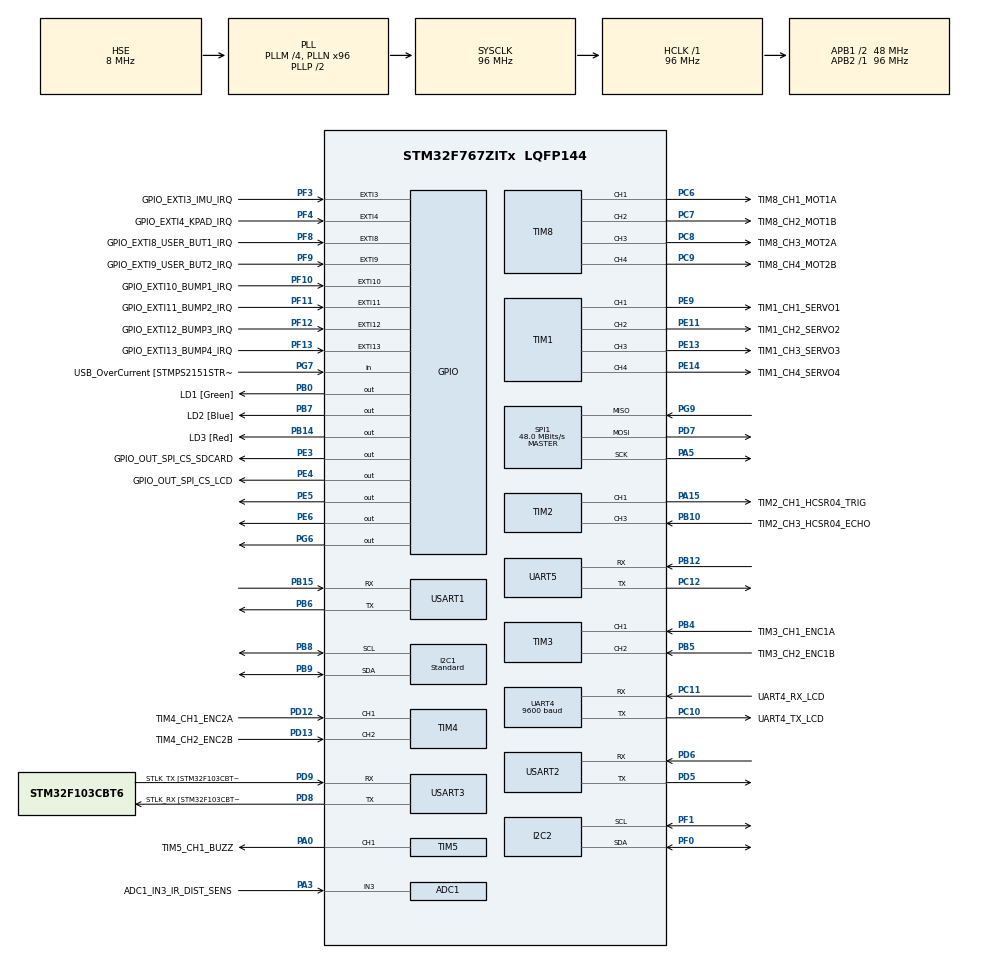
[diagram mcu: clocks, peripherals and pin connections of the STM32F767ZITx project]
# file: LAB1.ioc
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ADC1.Channel-1\#ChannelRegularConversion=ADC_CHANNEL_3
ADC1.NbrOfConversionFlag=1
ADC1.Rank-1\#ChannelRegularConversion=1
ADC1.SamplingTime-1\#ChannelRegularConversion=ADC_SAMPLETIME_3CYCLES
ADC1.master=1
I2C1.I2C_Speed_Mode=I2C_Standard
I2C1.Timing=0x20303E5D
I2C2.Timing=0x20303E5D
Mcu.Family=STM32F7
Mcu.Name=STM32F767ZITx
Mcu.Package=LQFP144
Mcu.UserConstants=TIM8_PSC_VALUE,959;TIM8_ARR_VALUE,400;TIM1_PSC_VALUE,959;TIM1_ARR_VALUE,200
NVIC.EXTI4_IRQn=true\:1\:0\:true\:false\:true\:true\:true\:true
NVIC.PriorityGroup=NVIC_PRIORITYGROUP_4
NVIC.TIM1_UP_TIM10_IRQn=true\:0\:0\:false\:false\:true\:true\:true\:true
NVIC.TIM7_IRQn=true\:0\:0\:false\:false\:true\:true\:true\:true
PA0/WKUP.GPIO_Label=TIM5_CH1_BUZZ
PA0/WKUP.Signal=S_TIM5_CH1
PA1.GPIO_Label=RMII_REF_CLK [LAN8742A-CZ-TR_REFCLK0]
PA1.Signal=ETH_REF_CLK
PA10.GPIO_Label=USB_ID
PA10.Signal=USB_OTG_FS_ID
PA11.GPIO_Label=USB_DM
PA11.Signal=USB_OTG_FS_DM
PA12.GPIO_Label=USB_DP
PA12.Signal=USB_OTG_FS_DP
PA13.GPIO_Label=TMS
PA13.Mode=Serial_Wire
PA13.Signal=SYS_JTMS-SWDIO
PA14.GPIO_Label=TCK
PA14.Mode=Serial_Wire
PA14.Signal=SYS_JTCK-SWCLK
PA15.GPIO_Label=TIM2_CH1_HCSR04_TRIG
PA15.Signal=S_TIM2_CH1_ETR
PA2.GPIO_Label=RMII_MDIO [LAN8742A-CZ-TR_MDIO]
PA2.Signal=ETH_MDIO
PA3.GPIO_Label=ADC1_IN3_IR_DIST_SENS
PA3.Signal=ADCx_IN3
PA5.Mode=Full_Duplex_Master
PA5.Signal=SPI1_SCK
PA7.GPIO_Label=RMII_CRS_DV [LAN8742A-CZ-TR_CRS_DV]
PA7.Signal=ETH_CRS_DV
PA8.GPIO_Label=USB_SOF [TP1]
PA8.Signal=USB_OTG_FS_SOF
PA9.GPIO_Label=USB_VBUS
PA9.Signal=USB_OTG_FS_VBUS
PB0.GPIO_Label=LD1 [Green]
PB0.Signal=GPIO_Output
PB10.GPIO_Label=TIM2_CH3_HCSR04_ECHO
PB10.Signal=S_TIM2_CH3
PB12.Mode=Asynchronous
PB12.Signal=UART5_RX
PB13.GPIO_Label=RMII_TXD1 [LAN8742A-CZ-TR_TXD1]
PB13.Signal=ETH_TXD1
PB14.GPIO_Label=LD3 [Red]
PB14.Signal=GPIO_Output
PB15.Mode=Asynchronous
PB15.Signal=USART1_RX
PB3.GPIO_Label=SWO
PB3.Signal=SYS_JTDO-SWO
PB4.GPIO_Label=TIM3_CH1_ENC1A
PB4.Signal=S_TIM3_CH1
PB5.GPIO_Label=TIM3_CH2_ENC1B
PB5.Signal=S_TIM3_CH2
PB6.Mode=Asynchronous
PB6.Signal=USART1_TX
PB7.GPIO_Label=LD2 [Blue]
PB7.Signal=GPIO_Output
PB8.GPIO_Pu=GPIO_PULLUP
PB8.Mode=I2C
PB8.Signal=I2C1_SCL
PB9.GPIO_Pu=GPIO_PULLUP
PB9.Mode=I2C
PB9.Signal=I2C1_SDA
PC1.GPIO_Label=RMII_MDC [LAN8742A-CZ-TR_MDC]
PC1.Signal=ETH_MDC
PC10.GPIO_Label=UART4_TX_LCD
PC10.Mode=Asynchronous
PC10.Signal=UART4_TX
PC11.GPIO_Label=UART4_RX_LCD
PC11.Mode=Asynchronous
PC11.Signal=UART4_RX
PC12.Mode=Asynchronous
PC12.Signal=UART5_TX
PC14/OSC32_IN.Mode=LSE-External-Oscillator
PC14/OSC32_IN.Signal=RCC_OSC32_IN
PC15/OSC32_OUT.Mode=LSE-External-Oscillator
PC15/OSC32_OUT.Signal=RCC_OSC32_OUT
PC4.GPIO_Label=RMII_RXD0 [LAN8742A-CZ-TR_RXD0]
PC4.Signal=ETH_RXD0
PC5.GPIO_Label=RMII_RXD1 [LAN8742A-CZ-TR_RXD1]
PC5.Signal=ETH_RXD1
PC6.GPIO_Label=TIM8_CH1_MOT1A
PC6.Signal=S_TIM8_CH1
PC7.GPIO_Label=TIM8_CH2_MOT1B
PC7.Signal=S_TIM8_CH2
PC8.GPIO_Label=TIM8_CH3_MOT2A
PC8.Signal=S_TIM8_CH3
PC9.GPIO_Label=TIM8_CH4_MOT2B
PC9.Signal=S_TIM8_CH4
PD12.GPIO_Label=TIM4_CH1_ENC2A
PD12.Signal=S_TIM4_CH1
PD13.GPIO_Label=TIM4_CH2_ENC2B
PD13.Signal=S_TIM4_CH2
PD5.Mode=Asynchronous
PD5.Signal=USART2_TX
PD6.Mode=Asynchronous
PD6.Signal=USART2_RX
PD7.Mode=Full_Duplex_Master
PD7.Signal=SPI1_MOSI
PD8.GPIO_Label=STLK_RX [STM32F103CBT6_PA3]
PD8.Mode=Asynchronous
PD8.Signal=USART3_TX
PD9.GPIO_Label=STLK_TX [STM32F103CBT6_PA2]
PD9.Mode=Asynchronous
PD9.Signal=USART3_RX
PE11.GPIO_Label=TIM1_CH2_SERVO2
PE11.Signal=S_TIM1_CH2
PE13.GPIO_Label=TIM1_CH3_SERVO3
PE13.Signal=S_TIM1_CH3
PE14.GPIO_Label=TIM1_CH4_SERVO4
PE14.Signal=S_TIM1_CH4
PE3.GPIO_Label=GPIO_OUT_SPI_CS_SDCARD
PE3.Signal=GPIO_Output
PE4.GPIO_Label=GPIO_OUT_SPI_CS_LCD
PE4.Signal=GPIO_Output
PE5.Signal=GPIO_Output
PE6.Signal=GPIO_Output
PE9.GPIO_Label=TIM1_CH1_SERVO1
PE9.Signal=S_TIM1_CH1
PF0.GPIO_Pu=GPIO_PULLUP
PF0.Mode=I2C
PF0.Signal=I2C2_SDA
PF1.GPIO_Pu=GPIO_PULLUP
PF1.Mode=I2C
PF1.Signal=I2C2_SCL
PF10.GPIO_Label=GPIO_EXTI10_BUMP1_IRQ
PF10.Signal=GPXTI10
PF11.GPIO_Label=GPIO_EXTI11_BUMP2_IRQ
PF11.Signal=GPXTI11
PF12.GPIO_Label=GPIO_EXTI12_BUMP3_IRQ
PF12.Signal=GPXTI12
PF13.GPIO_Label=GPIO_EXTI13_BUMP4_IRQ
PF13.Signal=GPXTI13
PF3.GPIO_Label=GPIO_EXTI3_IMU_IRQ
PF3.Signal=GPXTI3
PF4.GPIO_Label=GPIO_EXTI4_KPAD_IRQ
PF4.GPIO_ModeDefaultEXTI=GPIO_MODE_IT_FALLING
PF4.Signal=GPXTI4
PF8.GPIO_Label=GPIO_EXTI8_USER_BUT1_IRQ
PF8.Signal=GPXTI8
PF9.GPIO_Label=GPIO_EXTI9_USER_BUT2_IRQ
PF9.Signal=GPXTI9
PG11.GPIO_Label=RMII_TX_EN [LAN8742A-CZ-TR_TXEN]
PG11.Signal=ETH_TX_EN
PG13.GPIO_Label=RMII_TXD0 [LAN8742A-CZ-TR_TXD0]
PG13.Signal=ETH_TXD0
PG6.Signal=GPIO_Output
PG7.GPIO_Label=USB_OverCurrent [STMPS2151STR_FAULT]
PG7.Signal=GPIO_Input
PG9.Mode=Full_Duplex_Master
PG9.Signal=SPI1_MISO
PH0/OSC_IN.GPIO_Label=MCO [STM32F103CBT6_PA8]
PH0/OSC_IN.Mode=HSE-External-Clock-Source
PH0/OSC_IN.Signal=RCC_OSC_IN
PH1/OSC_OUT.Mode=HSE-External-Clock-Source
PH1/OSC_OUT.Signal=RCC_OSC_OUT
ProjectManager.HeapSize=0x200
ProjectManager.StackSize=0x400
ProjectManager.TargetToolchain=STM32CubeIDE
RCC.48MHZClocksFreq_Value=24000000
RCC.AHBFreq_Value=96000000
RCC.APB1CLKDivider=RCC_HCLK_DIV2
RCC.APB1Freq_Value=48000000
RCC.APB1TimFreq_Value=96000000
RCC.APB2Freq_Value=96000000
RCC.APB2TimFreq_Value=96000000
RCC.CortexFreq_Value=96000000
RCC.HCLKFreq_Value=96000000
RCC.HSE_VALUE=8000000
RCC.HSI_VALUE=16000000
RCC.PLLM=4
RCC.PLLMUL=RCC_PLL_MUL9
RCC.PLLN=96
RCC.PLLQ=4
RCC.PLLSourceVirtual=RCC_PLLSOURCE_HSE
RCC.PRESCALERUSB=RCC_USBCLKSOURCE_PLL_DIV1_5
RCC.SYSCLKFreq_VALUE=96000000
RCC.SYSCLKSource=RCC_SYSCLKSOURCE_PLLCLK
RCC.SYSCLKSourceVirtual=RCC_SYSCLKSOURCE_PLLCLK
RCC.USBFreq_Value=48000000
RCC.VCOOutputFreq_Value=192000000
SH.ADCx_IN3.0=ADC1_IN3,IN3
SH.S_TIM1_CH1.0=TIM1_CH1,PWM Generation1 CH1
SH.S_TIM1_CH2.0=TIM1_CH2,PWM Generation2 CH2
SH.S_TIM1_CH3.0=TIM1_CH3,PWM Generation3 CH3
SH.S_TIM1_CH4.0=TIM1_CH4,PWM Generation4 CH4
SH.S_TIM2_CH1_ETR.0=TIM2_CH1,PWM Generation1 CH1
SH.S_TIM2_CH3.0=TIM2_CH3,Input_Capture3_from_TI3
SH.S_TIM3_CH1.0=TIM3_CH1,Encoder_Interface
SH.S_TIM3_CH2.0=TIM3_CH2,Encoder_Interface
SH.S_TIM4_CH1.0=TIM4_CH1,Encoder_Interface
SH.S_TIM4_CH2.0=TIM4_CH2,Encoder_Interface
SH.S_TIM5_CH1.0=TIM5_CH1,PWM Generation1 CH1
SH.S_TIM8_CH1.0=TIM8_CH1,PWM Generation1 CH1
SH.S_TIM8_CH2.0=TIM8_CH2,PWM Generation2 CH2
SH.S_TIM8_CH3.0=TIM8_CH3,PWM Generation3 CH3
SH.S_TIM8_CH4.0=TIM8_CH4,PWM Generation4 CH4
SPI1.CalculateBaudRate=48.0 MBits/s
SPI1.Direction=SPI_DIRECTION_2LINES
SPI1.Mode=SPI_MODE_MASTER
SPI1.VirtualType=VM_MASTER
TIM1.Channel-PWM\ Generation1\ CH1=TIM_CHANNEL_1
TIM1.Channel-PWM\ Generation2\ CH2=TIM_CHANNEL_2
TIM1.Channel-PWM\ Generation3\ CH3=TIM_CHANNEL_3
TIM1.Channel-PWM\ Generation4\ CH4=TIM_CHANNEL_4
TIM1.Period=TIM1_ARR_VALUE
TIM1.Prescaler=TIM1_PSC_VALUE
TIM10.Period=9600-1
TIM10.Prescaler=1000-1
TIM2.Channel-Input_Capture3_from_TI3=TIM_CHANNEL_3
TIM2.Channel-PWM\ Generation1\ CH1=TIM_CHANNEL_1
TIM5.Channel-PWM\ Generation1\ CH1=TIM_CHANNEL_1
TIM7.Period=9600-1
TIM7.Prescaler=1000-1
TIM8.Channel-PWM\ Generation1\ CH1=TIM_CHANNEL_1
TIM8.Channel-PWM\ Generation2\ CH2=TIM_CHANNEL_2
TIM8.Channel-PWM\ Generation3\ CH3=TIM_CHANNEL_3
TIM8.Channel-PWM\ Generation4\ CH4=TIM_CHANNEL_4
TIM8.Period=TIM8_ARR_VALUE
TIM8.Prescaler=TIM8_PSC_VALUE
UART4.BaudRate=9600
USART1.VirtualMode-Asynchronous=VM_ASYNC
USART2.VirtualMode-Asynchronous=VM_ASYNC
USART3.VirtualMode-Asynchronous=VM_ASYNC
VP_TIM10_VS_ClockSourceINT.Mode=Enable_Timer
VP_TIM1_VS_ClockSourceINT.Mode=Internal
VP_TIM2_VS_ClockSourceINT.Mode=Internal
VP_TIM5_VS_ClockSourceINT.Mode=Internal
VP_TIM7_VS_ClockSourceINT.Mode=Enable_Timer
VP_TIM8_VS_ClockSourceINT.Mode=Internal
board=NUCLEO-F767ZI

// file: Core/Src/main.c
/* USER CODE BEGIN Header */
/**
 ******************************************************************************
 * @file           : main.c
 * @brief          : Main program body
 ******************************************************************************
 * @attention
 *
 * <h2><center>&copy; Copyright (c) 2021 STMicroelectronics.
 * All rights reserved.</center></h2>
 *
 * This software component is licensed by ST under BSD 3-Clause license,
 * the "License"; You may not use this file except in compliance with the
 * License. You may obtain a copy of the License at:
 *                        opensource.org/licenses/BSD-3-Clause
 *
 ******************************************************************************
 */
/* USER CODE END Header */
#include "main.h"

/* USER CODE BEGIN Includes */
#include <stdio.h>
#include <string.h>
#include <utils.h>
#include "SX1509_Registers.h"
/* USER CODE END Includes */

/* USER CODE BEGIN PD */
#define HAL_TIMEOUT 100

#define I2C_TIMEOUT 200

#define SX1509_I2C_ADDR1 0x3E //	SX1509 Proxy Sensors I2C address
#define SX1509_I2C_ADDR2 0x3F //	SX1509 Keypad I2C address
/* USER CODE END PD */

ADC_HandleTypeDef hadc1;

I2C_HandleTypeDef hi2c1;
I2C_HandleTypeDef hi2c2;

SPI_HandleTypeDef hspi1;

TIM_HandleTypeDef htim1;
TIM_HandleTypeDef htim2;
TIM_HandleTypeDef htim3;
TIM_HandleTypeDef htim4;
TIM_HandleTypeDef htim5;
TIM_HandleTypeDef htim7;
TIM_HandleTypeDef htim8;
TIM_HandleTypeDef htim10;

UART_HandleTypeDef huart4;
UART_HandleTypeDef huart5;
UART_HandleTypeDef huart1;
UART_HandleTypeDef huart2;
UART_HandleTypeDef huart3;

/* USER CODE BEGIN PV */
int LED_PRESC = 9999;

#define BYTE_TO_BINARY_PATTERN "%c%c%c%c%c%c%c%c\n"
#define BYTE_TO_BINARY(byte)  \
		((byte) & 0x80 ? '1' : '0'), \
		((byte) & 0x40 ? '1' : '0'), \
		((byte) & 0x20 ? '1' : '0'), \
		((byte) & 0x10 ? '1' : '0'), \
		((byte) & 0x08 ? '1' : '0'), \
		((byte) & 0x04 ? '1' : '0'), \
		((byte) & 0x02 ? '1' : '0'), \
		((byte) & 0x01 ? '1' : '0')
/* USER CODE END PV */

void SystemClock_Config(void);
static void MX_GPIO_Init(void);
static void MX_USART3_UART_Init(void);
static void MX_ADC1_Init(void);
static void MX_I2C1_Init(void);
static void MX_I2C2_Init(void);
static void MX_SPI1_Init(void);
static void MX_TIM1_Init(void);
static void MX_TIM2_Init(void);
static void MX_TIM3_Init(void);
static void MX_TIM4_Init(void);
static void MX_TIM5_Init(void);
static void MX_TIM8_Init(void);
static void MX_UART4_Init(void);
static void MX_UART5_Init(void);
static void MX_USART1_UART_Init(void);
static void MX_USART2_UART_Init(void);
static void MX_TIM7_Init(void);
static void MX_TIM10_Init(void);
/* USER CODE BEGIN PFP */
extern void initialise_monitor_handles(void);
/* USER CODE END PFP */

int main(void)
{
	/* USER CODE BEGIN 1 */
	uint8_t data;
	HAL_StatusTypeDef status;
	/* USER CODE END 1 */

	/* MCU Configuration--------------------------------------------------------*/

	/* Reset of all peripherals, Initializes the Flash interface and the Systick. */
	HAL_Init();

	/* Configure the system clock */
	SystemClock_Config();

	/* USER CODE BEGIN SysInit */
	initialise_monitor_handles();
	/* USER CODE END SysInit */

	/* Initialize all configured peripherals */
	MX_GPIO_Init();
	MX_USART3_UART_Init();
	MX_ADC1_Init();
	MX_I2C1_Init();
	MX_I2C2_Init();
	MX_SPI1_Init();
	MX_TIM1_Init();
	MX_TIM2_Init();
	MX_TIM3_Init();
	MX_TIM4_Init();
	MX_TIM5_Init();
	MX_TIM8_Init();
	MX_UART4_Init();
	MX_UART5_Init();
	MX_USART1_UART_Init();
	MX_USART2_UART_Init();
	MX_TIM7_Init();
	MX_TIM10_Init();
	/* USER CODE BEGIN 2 */

	/* Disable LCD SPI SS */
	HAL_GPIO_WritePin(GPIO_OUT_SPI_CS_LCD_GPIO_Port, GPIO_OUT_SPI_CS_LCD_Pin, GPIO_PIN_SET);

	/* Disable EXTI4_IRQ during SX1509 initialization */
	HAL_NVIC_DisableIRQ(EXTI4_IRQn);

	/* Software reset */
	data = 0x12;
	status = HAL_I2C_Mem_Write(&hi2c1, SX1509_I2C_ADDR2 << 1, REG_RESET, 1, &data, 1, I2C_TIMEOUT);
	if (status != HAL_OK)
		printf("I2C communication error (%X).\n", status);

	data = 0x34;
	status = HAL_I2C_Mem_Write(&hi2c1, SX1509_I2C_ADDR2 << 1, REG_RESET, 1, &data, 1, I2C_TIMEOUT);
	if (status != HAL_OK)
		printf("I2C communication error (%X).\n", status);

	HAL_Delay(100);

	/* Set KeyPad scanning engine */

	/* Set RegClock to 0x40 (enable internal oscillator; 2MHz freq) */
	data = 0x40;
	status = HAL_I2C_Mem_Write(&hi2c1, SX1509_I2C_ADDR2 << 1, REG_CLOCK, 1, &data, 1, I2C_TIMEOUT);
	if (status != HAL_OK)
		printf("I2C communication error (%X).\n", status);

	/* Set Bank A RegDir to 0xF0 (IO[0:3] as out) */
	data = 0xF0;
	status = HAL_I2C_Mem_Write(&hi2c1, SX1509_I2C_ADDR2 << 1, REG_DIR_A, 1, &data, 1, I2C_TIMEOUT);
	if (status != HAL_OK)
		printf("I2C communication error (%X).\n", status);

	/* Set Bank B RegDir to 0x0F (IO[8:11] as in) */
	data = 0x0F;
	status = HAL_I2C_Mem_Write(&hi2c1, SX1509_I2C_ADDR2 << 1, REG_DIR_B, 1, &data, 1, I2C_TIMEOUT);
	if (status != HAL_OK)
		printf("I2C communication error (%X).\n", status);

	/* Set Bank A RegOpenDrain to 0x0F (IO[0:3] as open-drain outputs) */
	data = 0x0F;
	status = HAL_I2C_Mem_Write(&hi2c1, SX1509_I2C_ADDR2 << 1, REG_OPEN_DRAIN_A, 1, &data, 1, I2C_TIMEOUT);
	if (status != HAL_OK)
		printf("I2C communication error (%X).\n", status);

	/* Set Bank B RegPullup to 0x0F (pull-ups enabled on inputs IO[8:11]) */
	data = 0x0F;
	status = HAL_I2C_Mem_Write(&hi2c1, SX1509_I2C_ADDR2 << 1, REG_PULL_UP_B, 1, &data, 1, I2C_TIMEOUT);
	if (status != HAL_OK)
		printf("I2C communication error (%X).\n", status);

	/* Set Bank B RegDebounceEnable to 0x0F (enable debouncing on IO[8:11]) */
	data = 0x0F;
	status = HAL_I2C_Mem_Write(&hi2c1, SX1509_I2C_ADDR2 << 1, REG_DEBOUNCE_ENABLE_B, 1, &data, 1, I2C_TIMEOUT);
	if (status != HAL_OK)
		printf("I2C communication error (%X).\n", status);

	/* Set RegDebounceConfig to 0x05 (16ms debounce time) */
	data = 0x05;
	status = HAL_I2C_Mem_Write(&hi2c1, SX1509_I2C_ADDR2 << 1, REG_DEBOUNCE_CONFIG, 1, &data, 1, I2C_TIMEOUT);
	if (status != HAL_OK)
		printf("I2C communication error (%X).\n", status);

	/* Set RegKeyConfig1 to 0x7D (8s auto-sleep; 32ms scan time per row) */
	data = 0x7D;
	status = HAL_I2C_Mem_Write(&hi2c1, SX1509_I2C_ADDR2 << 1, REG_KEY_CONFIG_1, 1, &data, 1, I2C_TIMEOUT);
	if (status != HAL_OK)
		printf("I2C communication error (%X).\n", status);

	/* Set RegKeyConfig2 to 0x1B (4 rows; 4 columns) */
	data = 0x1B;
	status = HAL_I2C_Mem_Write(&hi2c1, SX1509_I2C_ADDR2 << 1, REG_KEY_CONFIG_2, 1, &data, 1, I2C_TIMEOUT);
	if (status != HAL_OK)
		printf("I2C communication error (%X).\n", status);

	/* Enable EXTI4_IRQ after SX1509 initialization */
	HAL_Delay(100);
	HAL_NVIC_EnableIRQ(EXTI4_IRQn);

	/* Disable EXTI2_IRQ during SX1509 initialization */
	HAL_NVIC_DisableIRQ(EXTI2_IRQn);

	/* Software reset */
	data = 0x12;
	status = HAL_I2C_Mem_Write(&hi2c1, SX1509_I2C_ADDR1 << 1, REG_RESET, 1, &data, 1, I2C_TIMEOUT);
	if (status != HAL_OK)
		printf("I2C communication error (%X).\n", status);

	data = 0x34;
	status = HAL_I2C_Mem_Write(&hi2c1, SX1509_I2C_ADDR1 << 1, REG_RESET, 1, &data, 1, I2C_TIMEOUT);
	if (status != HAL_OK)
		printf("I2C communication error (%X).\n", status);

	HAL_Delay(100);

	/* Set RegDirA to 0xFF (all IO of Bank A configured as inputs) */
	data = 0xFF; // 0 = out; 1 = in
	status = HAL_I2C_Mem_Write(&hi2c1, SX1509_I2C_ADDR1 << 1, REG_DIR_A, 1, &data, 1, I2C_TIMEOUT);
	if (status != HAL_OK)
		printf("I2C communication error (%X).\n", status);

	/* Set RegDirB to 0xFF (all IO of Bank B configured as inputs) */
	data = 0xFF; // 0 = out; 1 = in
	status = HAL_I2C_Mem_Write(&hi2c1, SX1509_I2C_ADDR1 << 1, REG_DIR_B, 1, &data, 1, I2C_TIMEOUT);
	if (status != HAL_OK)
		printf("I2C communication error (%X).\n", status);

	/* Set RegInterruptMaskA to 0x00 (all IO of Bank A will trigger an interrupt) */
	data = 0x00;
	status = HAL_I2C_Mem_Write(&hi2c1, SX1509_I2C_ADDR1 << 1, REG_INTERRUPT_MASK_A, 1, &data, 1, I2C_TIMEOUT);
	if (status != HAL_OK)
		printf("I2C communication error (%X).\n", status);

	/* Set RegSenseHighA to 0xAA (IO[7:4] of Bank A will trigger an interrupt on falling edge) */
	data = 0xAA;
	status = HAL_I2C_Mem_Write(&hi2c1, SX1509_I2C_ADDR1 << 1, REG_SENSE_HIGH_A, 1, &data, 1, I2C_TIMEOUT);
	if (status != HAL_OK)
		printf("I2C communication error (%X).\n", status);

	/* Set RegSenseLowA to 0xAA (IO[3:0] of Bank A will trigger an interrupt on falling edge) */
	data = 0xAA;
	status = HAL_I2C_Mem_Write(&hi2c1, SX1509_I2C_ADDR1 << 1, REG_SENSE_LOW_A, 1, &data, 1, I2C_TIMEOUT);
	if (status != HAL_OK)
		printf("I2C communication error (%X).\n", status);

	/* Enable EXTI2_IRQ after SX1509 initialization */
	HAL_Delay(100);
	HAL_NVIC_EnableIRQ(EXTI2_IRQn);

	printf("Ready\n");

	HAL_TIM_Base_Start_IT(&htim7);
	HAL_TIM_Base_Start_IT(&htim10);

	/* USER CODE END 2 */

	/* Infinite loop */
	while (1)
	{

	}
}

void SystemClock_Config(void)
{
	RCC_OscInitTypeDef RCC_OscInitStruct = {0};
	RCC_ClkInitTypeDef RCC_ClkInitStruct = {0};

	/** Configure LSE Drive Capability
	 */
	HAL_PWR_EnableBkUpAccess();

	/** Configure the main internal regulator output voltage
	 */
	__HAL_RCC_PWR_CLK_ENABLE();
	__HAL_PWR_VOLTAGESCALING_CONFIG(PWR_REGULATOR_VOLTAGE_SCALE3);

	/** Initializes the RCC Oscillators according to the specified parameters
	 * in the RCC_OscInitTypeDef structure.
	 */
	RCC_OscInitStruct.OscillatorType = RCC_OSCILLATORTYPE_HSE;
	RCC_OscInitStruct.HSEState = RCC_HSE_BYPASS;
	RCC_OscInitStruct.PLL.PLLState = RCC_PLL_ON;
	RCC_OscInitStruct.PLL.PLLSource = RCC_PLLSOURCE_HSE;
	RCC_OscInitStruct.PLL.PLLM = 4;
	RCC_OscInitStruct.PLL.PLLN = 96;
	RCC_OscInitStruct.PLL.PLLP = RCC_PLLP_DIV2;
	RCC_OscInitStruct.PLL.PLLQ = 4;
	RCC_OscInitStruct.PLL.PLLR = 2;
	if (HAL_RCC_OscConfig(&RCC_OscInitStruct) != HAL_OK)
	{
		Error_Handler();
	}

	/** Activate the Over-Drive mode
	 */
	if (HAL_PWREx_EnableOverDrive() != HAL_OK)
	{
		Error_Handler();
	}

	/** Initializes the CPU, AHB and APB buses clocks
	 */
	RCC_ClkInitStruct.ClockType = RCC_CLOCKTYPE_HCLK|RCC_CLOCKTYPE_SYSCLK
			|RCC_CLOCKTYPE_PCLK1|RCC_CLOCKTYPE_PCLK2;
	RCC_ClkInitStruct.SYSCLKSource = RCC_SYSCLKSOURCE_PLLCLK;
	RCC_ClkInitStruct.AHBCLKDivider = RCC_SYSCLK_DIV1;
	RCC_ClkInitStruct.APB1CLKDivider = RCC_HCLK_DIV2;
	RCC_ClkInitStruct.APB2CLKDivider = RCC_HCLK_DIV1;

	if (HAL_RCC_ClockConfig(&RCC_ClkInitStruct, FLASH_LATENCY_3) != HAL_OK)
	{
		Error_Handler();
	}
}

static void MX_ADC1_Init(void)
{

	ADC_ChannelConfTypeDef sConfig = {0};

	/** Configure the global features of the ADC (Clock, Resolution, Data Alignment and number of conversion)
	 */
	hadc1.Instance = ADC1;
	hadc1.Init.ClockPrescaler = ADC_CLOCK_SYNC_PCLK_DIV4;
	hadc1.Init.Resolution = ADC_RESOLUTION_12B;
	hadc1.Init.ScanConvMode = ADC_SCAN_DISABLE;
	hadc1.Init.ContinuousConvMode = DISABLE;
	hadc1.Init.DiscontinuousConvMode = DISABLE;
	hadc1.Init.ExternalTrigConvEdge = ADC_EXTERNALTRIGCONVEDGE_NONE;
	hadc1.Init.ExternalTrigConv = ADC_SOFTWARE_START;
	hadc1.Init.DataAlign = ADC_DATAALIGN_RIGHT;
	hadc1.Init.NbrOfConversion = 1;
	hadc1.Init.DMAContinuousRequests = DISABLE;
	hadc1.Init.EOCSelection = ADC_EOC_SINGLE_CONV;
	if (HAL_ADC_Init(&hadc1) != HAL_OK)
	{
		Error_Handler();
	}

	/** Configure for the selected ADC regular channel its corresponding rank in the sequencer and its sample time.
	 */
	sConfig.Channel = ADC_CHANNEL_3;
	sConfig.Rank = ADC_REGULAR_RANK_1;
	sConfig.SamplingTime = ADC_SAMPLETIME_3CYCLES;
	if (HAL_ADC_ConfigChannel(&hadc1, &sConfig) != HAL_OK)
	{
		Error_Handler();
	}

}

static void MX_I2C1_Init(void)
{

	hi2c1.Instance = I2C1;
	hi2c1.Init.Timing = 0x20303E5D;
	hi2c1.Init.OwnAddress1 = 0;
	hi2c1.Init.AddressingMode = I2C_ADDRESSINGMODE_7BIT;
	hi2c1.Init.DualAddressMode = I2C_DUALADDRESS_DISABLE;
	hi2c1.Init.OwnAddress2 = 0;
	hi2c1.Init.OwnAddress2Masks = I2C_OA2_NOMASK;
	hi2c1.Init.GeneralCallMode = I2C_GENERALCALL_DISABLE;
	hi2c1.Init.NoStretchMode = I2C_NOSTRETCH_DISABLE;
	if (HAL_I2C_Init(&hi2c1) != HAL_OK)
	{
		Error_Handler();
	}

	/** Configure Analogue filter
	 */
	if (HAL_I2CEx_ConfigAnalogFilter(&hi2c1, I2C_ANALOGFILTER_ENABLE) != HAL_OK)
	{
		Error_Handler();
	}

	/** Configure Digital filter
	 */
	if (HAL_I2CEx_ConfigDigitalFilter(&hi2c1, 0) != HAL_OK)
	{
		Error_Handler();
	}

}

static void MX_I2C2_Init(void)
{

	hi2c2.Instance = I2C2;
	hi2c2.Init.Timing = 0x20303E5D;
	hi2c2.Init.OwnAddress1 = 0;
	hi2c2.Init.AddressingMode = I2C_ADDRESSINGMODE_7BIT;
	hi2c2.Init.DualAddressMode = I2C_DUALADDRESS_DISABLE;
	hi2c2.Init.OwnAddress2 = 0;
	hi2c2.Init.OwnAddress2Masks = I2C_OA2_NOMASK;
	hi2c2.Init.GeneralCallMode = I2C_GENERALCALL_DISABLE;
	hi2c2.Init.NoStretchMode = I2C_NOSTRETCH_DISABLE;
	if (HAL_I2C_Init(&hi2c2) != HAL_OK)
	{
		Error_Handler();
	}

	/** Configure Analogue filter
	 */
	if (HAL_I2CEx_ConfigAnalogFilter(&hi2c2, I2C_ANALOGFILTER_ENABLE) != HAL_OK)
	{
		Error_Handler();
	}

	/** Configure Digital filter
	 */
	if (HAL_I2CEx_ConfigDigitalFilter(&hi2c2, 0) != HAL_OK)
	{
		Error_Handler();
	}

}

static void MX_SPI1_Init(void)
{

	/* SPI1 parameter configuration*/
	hspi1.Instance = SPI1;
	hspi1.Init.Mode = SPI_MODE_MASTER;
	hspi1.Init.Direction = SPI_DIRECTION_2LINES;
	hspi1.Init.DataSize = SPI_DATASIZE_4BIT;
	hspi1.Init.CLKPolarity = SPI_POLARITY_LOW;
	hspi1.Init.CLKPhase = SPI_PHASE_1EDGE;
	hspi1.Init.NSS = SPI_NSS_SOFT;
	hspi1.Init.BaudRatePrescaler = SPI_BAUDRATEPRESCALER_2;
	hspi1.Init.FirstBit = SPI_FIRSTBIT_MSB;
	hspi1.Init.TIMode = SPI_TIMODE_DISABLE;
	hspi1.Init.CRCCalculation = SPI_CRCCALCULATION_DISABLE;
	hspi1.Init.CRCPolynomial = 7;
	hspi1.Init.CRCLength = SPI_CRC_LENGTH_DATASIZE;
	hspi1.Init.NSSPMode = SPI_NSS_PULSE_ENABLE;
	if (HAL_SPI_Init(&hspi1) != HAL_OK)
	{
		Error_Handler();
	}

}

static void MX_TIM1_Init(void)
{

	TIM_ClockConfigTypeDef sClockSourceConfig = {0};
	TIM_MasterConfigTypeDef sMasterConfig = {0};
	TIM_OC_InitTypeDef sConfigOC = {0};
	TIM_BreakDeadTimeConfigTypeDef sBreakDeadTimeConfig = {0};

	htim1.Instance = TIM1;
	htim1.Init.Prescaler = TIM1_PSC_VALUE;
	htim1.Init.CounterMode = TIM_COUNTERMODE_UP;
	htim1.Init.Period = TIM1_ARR_VALUE;
	htim1.Init.ClockDivision = TIM_CLOCKDIVISION_DIV1;
	htim1.Init.RepetitionCounter = 0;
	htim1.Init.AutoReloadPreload = TIM_AUTORELOAD_PRELOAD_DISABLE;
	if (HAL_TIM_Base_Init(&htim1) != HAL_OK)
	{
		Error_Handler();
	}
	sClockSourceConfig.ClockSource = TIM_CLOCKSOURCE_INTERNAL;
	if (HAL_TIM_ConfigClockSource(&htim1, &sClockSourceConfig) != HAL_OK)
	{
		Error_Handler();
	}
	if (HAL_TIM_PWM_Init(&htim1) != HAL_OK)
	{
		Error_Handler();
	}
	sMasterConfig.MasterOutputTrigger = TIM_TRGO_RESET;
	sMasterConfig.MasterOutputTrigger2 = TIM_TRGO2_RESET;
	sMasterConfig.MasterSlaveMode = TIM_MASTERSLAVEMODE_DISABLE;
	if (HAL_TIMEx_MasterConfigSynchronization(&htim1, &sMasterConfig) != HAL_OK)
	{
		Error_Handler();
	}
	sConfigOC.OCMode = TIM_OCMODE_PWM1;
	sConfigOC.Pulse = 0;
	sConfigOC.OCPolarity = TIM_OCPOLARITY_HIGH;
	sConfigOC.OCNPolarity = TIM_OCNPOLARITY_HIGH;
	sConfigOC.OCFastMode = TIM_OCFAST_DISABLE;
	sConfigOC.OCIdleState = TIM_OCIDLESTATE_RESET;
	sConfigOC.OCNIdleState = TIM_OCNIDLESTATE_RESET;
	if (HAL_TIM_PWM_ConfigChannel(&htim1, &sConfigOC, TIM_CHANNEL_1) != HAL_OK)
	{
		Error_Handler();
	}
	if (HAL_TIM_PWM_ConfigChannel(&htim1, &sConfigOC, TIM_CHANNEL_2) != HAL_OK)
	{
		Error_Handler();
	}
	if (HAL_TIM_PWM_ConfigChannel(&htim1, &sConfigOC, TIM_CHANNEL_3) != HAL_OK)
	{
		Error_Handler();
	}
	if (HAL_TIM_PWM_ConfigChannel(&htim1, &sConfigOC, TIM_CHANNEL_4) != HAL_OK)
	{
		Error_Handler();
	}
	sBreakDeadTimeConfig.OffStateRunMode = TIM_OSSR_DISABLE;
	sBreakDeadTimeConfig.OffStateIDLEMode = TIM_OSSI_DISABLE;
	sBreakDeadTimeConfig.LockLevel = TIM_LOCKLEVEL_OFF;
	sBreakDeadTimeConfig.DeadTime = 0;
	sBreakDeadTimeConfig.BreakState = TIM_BREAK_DISABLE;
	sBreakDeadTimeConfig.BreakPolarity = TIM_BREAKPOLARITY_HIGH;
	sBreakDeadTimeConfig.BreakFilter = 0;
	sBreakDeadTimeConfig.Break2State = TIM_BREAK2_DISABLE;
	sBreakDeadTimeConfig.Break2Polarity = TIM_BREAK2POLARITY_HIGH;
	sBreakDeadTimeConfig.Break2Filter = 0;
	sBreakDeadTimeConfig.AutomaticOutput = TIM_AUTOMATICOUTPUT_DISABLE;
	if (HAL_TIMEx_ConfigBreakDeadTime(&htim1, &sBreakDeadTimeConfig) != HAL_OK)
	{
		Error_Handler();
	}
	HAL_TIM_MspPostInit(&htim1);

}

static void MX_TIM2_Init(void)
{

	TIM_ClockConfigTypeDef sClockSourceConfig = {0};
	TIM_MasterConfigTypeDef sMasterConfig = {0};
	TIM_OC_InitTypeDef sConfigOC = {0};
	TIM_IC_InitTypeDef sConfigIC = {0};

	htim2.Instance = TIM2;
	htim2.Init.Prescaler = 0;
	htim2.Init.CounterMode = TIM_COUNTERMODE_UP;
	htim2.Init.Period = 4294967295;
	htim2.Init.ClockDivision = TIM_CLOCKDIVISION_DIV1;
	htim2.Init.AutoReloadPreload = TIM_AUTORELOAD_PRELOAD_DISABLE;
	if (HAL_TIM_Base_Init(&htim2) != HAL_OK)
	{
		Error_Handler();
	}
	sClockSourceConfig.ClockSource = TIM_CLOCKSOURCE_INTERNAL;
	if (HAL_TIM_ConfigClockSource(&htim2, &sClockSourceConfig) != HAL_OK)
	{
		Error_Handler();
	}
	if (HAL_TIM_PWM_Init(&htim2) != HAL_OK)
	{
		Error_Handler();
	}
	if (HAL_TIM_IC_Init(&htim2) != HAL_OK)
	{
		Error_Handler();
	}
	sMasterConfig.MasterOutputTrigger = TIM_TRGO_RESET;
	sMasterConfig.MasterSlaveMode = TIM_MASTERSLAVEMODE_DISABLE;
	if (HAL_TIMEx_MasterConfigSynchronization(&htim2, &sMasterConfig) != HAL_OK)
	{
		Error_Handler();
	}
	sConfigOC.OCMode = TIM_OCMODE_PWM1;
	sConfigOC.Pulse = 0;
	sConfigOC.OCPolarity = TIM_OCPOLARITY_HIGH;
	sConfigOC.OCFastMode = TIM_OCFAST_DISABLE;
	if (HAL_TIM_PWM_ConfigChannel(&htim2, &sConfigOC, TIM_CHANNEL_1) != HAL_OK)
	{
		Error_Handler();
	}
	sConfigIC.ICPolarity = TIM_INPUTCHANNELPOLARITY_RISING;
	sConfigIC.ICSelection = TIM_ICSELECTION_DIRECTTI;
	sConfigIC.ICPrescaler = TIM_ICPSC_DIV1;
	sConfigIC.ICFilter = 0;
	if (HAL_TIM_IC_ConfigChannel(&htim2, &sConfigIC, TIM_CHANNEL_3) != HAL_OK)
	{
		Error_Handler();
	}
	HAL_TIM_MspPostInit(&htim2);

}

static void MX_TIM3_Init(void)
{

	TIM_Encoder_InitTypeDef sConfig = {0};
	TIM_MasterConfigTypeDef sMasterConfig = {0};

	htim3.Instance = TIM3;
	htim3.Init.Prescaler = 0;
	htim3.Init.CounterMode = TIM_COUNTERMODE_UP;
	htim3.Init.Period = 65535;
	htim3.Init.ClockDivision = TIM_CLOCKDIVISION_DIV1;
	htim3.Init.AutoReloadPreload = TIM_AUTORELOAD_PRELOAD_DISABLE;
	sConfig.EncoderMode = TIM_ENCODERMODE_TI1;
	sConfig.IC1Polarity = TIM_ICPOLARITY_RISING;
	sConfig.IC1Selection = TIM_ICSELECTION_DIRECTTI;
	sConfig.IC1Prescaler = TIM_ICPSC_DIV1;
	sConfig.IC1Filter = 0;
	sConfig.IC2Polarity = TIM_ICPOLARITY_RISING;
	sConfig.IC2Selection = TIM_ICSELECTION_DIRECTTI;
	sConfig.IC2Prescaler = TIM_ICPSC_DIV1;
	sConfig.IC2Filter = 0;
	if (HAL_TIM_Encoder_Init(&htim3, &sConfig) != HAL_OK)
	{
		Error_Handler();
	}
	sMasterConfig.MasterOutputTrigger = TIM_TRGO_RESET;
	sMasterConfig.MasterSlaveMode = TIM_MASTERSLAVEMODE_DISABLE;
	if (HAL_TIMEx_MasterConfigSynchronization(&htim3, &sMasterConfig) != HAL_OK)
	{
		Error_Handler();
	}

}

static void MX_TIM4_Init(void)
{

	TIM_Encoder_InitTypeDef sConfig = {0};
	TIM_MasterConfigTypeDef sMasterConfig = {0};

	htim4.Instance = TIM4;
	htim4.Init.Prescaler = 0;
	htim4.Init.CounterMode = TIM_COUNTERMODE_UP;
	htim4.Init.Period = 65535;
	htim4.Init.ClockDivision = TIM_CLOCKDIVISION_DIV1;
	htim4.Init.AutoReloadPreload = TIM_AUTORELOAD_PRELOAD_DISABLE;
	sConfig.EncoderMode = TIM_ENCODERMODE_TI1;
	sConfig.IC1Polarity = TIM_ICPOLARITY_RISING;
	sConfig.IC1Selection = TIM_ICSELECTION_DIRECTTI;
	sConfig.IC1Prescaler = TIM_ICPSC_DIV1;
	sConfig.IC1Filter = 0;
	sConfig.IC2Polarity = TIM_ICPOLARITY_RISING;
	sConfig.IC2Selection = TIM_ICSELECTION_DIRECTTI;
	sConfig.IC2Prescaler = TIM_ICPSC_DIV1;
	sConfig.IC2Filter = 0;
	if (HAL_TIM_Encoder_Init(&htim4, &sConfig) != HAL_OK)
	{
		Error_Handler();
	}
	sMasterConfig.MasterOutputTrigger = TIM_TRGO_RESET;
	sMasterConfig.MasterSlaveMode = TIM_MASTERSLAVEMODE_DISABLE;
	if (HAL_TIMEx_MasterConfigSynchronization(&htim4, &sMasterConfig) != HAL_OK)
	{
		Error_Handler();
	}

}

static void MX_TIM5_Init(void)
{

	TIM_ClockConfigTypeDef sClockSourceConfig = {0};
	TIM_MasterConfigTypeDef sMasterConfig = {0};
	TIM_OC_InitTypeDef sConfigOC = {0};

	htim5.Instance = TIM5;
	htim5.Init.Prescaler = 0;
	htim5.Init.CounterMode = TIM_COUNTERMODE_UP;
	htim5.Init.Period = 4294967295;
	htim5.Init.ClockDivision = TIM_CLOCKDIVISION_DIV1;
	htim5.Init.AutoReloadPreload = TIM_AUTORELOAD_PRELOAD_DISABLE;
	if (HAL_TIM_Base_Init(&htim5) != HAL_OK)
	{
		Error_Handler();
	}
	sClockSourceConfig.ClockSource = TIM_CLOCKSOURCE_INTERNAL;
	if (HAL_TIM_ConfigClockSource(&htim5, &sClockSourceConfig) != HAL_OK)
	{
		Error_Handler();
	}
	if (HAL_TIM_PWM_Init(&htim5) != HAL_OK)
	{
		Error_Handler();
	}
	sMasterConfig.MasterOutputTrigger = TIM_TRGO_RESET;
	sMasterConfig.MasterSlaveMode = TIM_MASTERSLAVEMODE_DISABLE;
	if (HAL_TIMEx_MasterConfigSynchronization(&htim5, &sMasterConfig) != HAL_OK)
	{
		Error_Handler();
	}
	sConfigOC.OCMode = TIM_OCMODE_PWM1;
	sConfigOC.Pulse = 0;
	sConfigOC.OCPolarity = TIM_OCPOLARITY_HIGH;
	sConfigOC.OCFastMode = TIM_OCFAST_DISABLE;
	if (HAL_TIM_PWM_ConfigChannel(&htim5, &sConfigOC, TIM_CHANNEL_1) != HAL_OK)
	{
		Error_Handler();
	}
	HAL_TIM_MspPostInit(&htim5);

}

static void MX_TIM7_Init(void)
{

	TIM_MasterConfigTypeDef sMasterConfig = {0};

	htim7.Instance = TIM7;
	htim7.Init.Prescaler = 1000-1;
	htim7.Init.CounterMode = TIM_COUNTERMODE_UP;
	htim7.Init.Period = 9600-1;
	htim7.Init.AutoReloadPreload = TIM_AUTORELOAD_PRELOAD_DISABLE;
	if (HAL_TIM_Base_Init(&htim7) != HAL_OK)
	{
		Error_Handler();
	}
	sMasterConfig.MasterOutputTrigger = TIM_TRGO_RESET;
	sMasterConfig.MasterSlaveMode = TIM_MASTERSLAVEMODE_DISABLE;
	if (HAL_TIMEx_MasterConfigSynchronization(&htim7, &sMasterConfig) != HAL_OK)
	{
		Error_Handler();
	}

}

static void MX_TIM8_Init(void)
{

	TIM_ClockConfigTypeDef sClockSourceConfig = {0};
	TIM_MasterConfigTypeDef sMasterConfig = {0};
	TIM_OC_InitTypeDef sConfigOC = {0};
	TIM_BreakDeadTimeConfigTypeDef sBreakDeadTimeConfig = {0};

	htim8.Instance = TIM8;
	htim8.Init.Prescaler = TIM8_PSC_VALUE;
	htim8.Init.CounterMode = TIM_COUNTERMODE_UP;
	htim8.Init.Period = TIM8_ARR_VALUE;
	htim8.Init.ClockDivision = TIM_CLOCKDIVISION_DIV1;
	htim8.Init.RepetitionCounter = 0;
	htim8.Init.AutoReloadPreload = TIM_AUTORELOAD_PRELOAD_DISABLE;
	if (HAL_TIM_Base_Init(&htim8) != HAL_OK)
	{
		Error_Handler();
	}
	sClockSourceConfig.ClockSource = TIM_CLOCKSOURCE_INTERNAL;
	if (HAL_TIM_ConfigClockSource(&htim8, &sClockSourceConfig) != HAL_OK)
	{
		Error_Handler();
	}
	if (HAL_TIM_PWM_Init(&htim8) != HAL_OK)
	{
		Error_Handler();
	}
	sMasterConfig.MasterOutputTrigger = TIM_TRGO_RESET;
	sMasterConfig.MasterOutputTrigger2 = TIM_TRGO2_RESET;
	sMasterConfig.MasterSlaveMode = TIM_MASTERSLAVEMODE_DISABLE;
	if (HAL_TIMEx_MasterConfigSynchronization(&htim8, &sMasterConfig) != HAL_OK)
	{
		Error_Handler();
	}
	sConfigOC.OCMode = TIM_OCMODE_PWM1;
	sConfigOC.Pulse = 0;
	sConfigOC.OCPolarity = TIM_OCPOLARITY_HIGH;
	sConfigOC.OCNPolarity = TIM_OCNPOLARITY_HIGH;
	sConfigOC.OCFastMode = TIM_OCFAST_DISABLE;
	sConfigOC.OCIdleState = TIM_OCIDLESTATE_RESET;
	sConfigOC.OCNIdleState = TIM_OCNIDLESTATE_RESET;
	if (HAL_TIM_PWM_ConfigChannel(&htim8, &sConfigOC, TIM_CHANNEL_1) != HAL_OK)
	{
		Error_Handler();
	}
	if (HAL_TIM_PWM_ConfigChannel(&htim8, &sConfigOC, TIM_CHANNEL_2) != HAL_OK)
	{
		Error_Handler();
	}
	if (HAL_TIM_PWM_ConfigChannel(&htim8, &sConfigOC, TIM_CHANNEL_3) != HAL_OK)
	{
		Error_Handler();
	}
	if (HAL_TIM_PWM_ConfigChannel(&htim8, &sConfigOC, TIM_CHANNEL_4) != HAL_OK)
	{
		Error_Handler();
	}
	sBreakDeadTimeConfig.OffStateRunMode = TIM_OSSR_DISABLE;
	sBreakDeadTimeConfig.OffStateIDLEMode = TIM_OSSI_DISABLE;
	sBreakDeadTimeConfig.LockLevel = TIM_LOCKLEVEL_OFF;
	sBreakDeadTimeConfig.DeadTime = 0;
	sBreakDeadTimeConfig.BreakState = TIM_BREAK_DISABLE;
	sBreakDeadTimeConfig.BreakPolarity = TIM_BREAKPOLARITY_HIGH;
	sBreakDeadTimeConfig.BreakFilter = 0;
	sBreakDeadTimeConfig.Break2State = TIM_BREAK2_DISABLE;
	sBreakDeadTimeConfig.Break2Polarity = TIM_BREAK2POLARITY_HIGH;
	sBreakDeadTimeConfig.Break2Filter = 0;
	sBreakDeadTimeConfig.AutomaticOutput = TIM_AUTOMATICOUTPUT_DISABLE;
	if (HAL_TIMEx_ConfigBreakDeadTime(&htim8, &sBreakDeadTimeConfig) != HAL_OK)
	{
		Error_Handler();
	}
	HAL_TIM_MspPostInit(&htim8);

}

static void MX_TIM10_Init(void)
{

	htim10.Instance = TIM10;
	htim10.Init.Prescaler = 1000-1;
	htim10.Init.CounterMode = TIM_COUNTERMODE_UP;
	htim10.Init.Period = 9600-1;
	htim10.Init.ClockDivision = TIM_CLOCKDIVISION_DIV1;
	htim10.Init.AutoReloadPreload = TIM_AUTORELOAD_PRELOAD_DISABLE;
	if (HAL_TIM_Base_Init(&htim10) != HAL_OK)
	{
		Error_Handler();
	}

}

static void MX_UART4_Init(void)
{

	huart4.Instance = UART4;
	huart4.Init.BaudRate = 9600;
	huart4.Init.WordLength = UART_WORDLENGTH_8B;
	huart4.Init.StopBits = UART_STOPBITS_1;
	huart4.Init.Parity = UART_PARITY_NONE;
	huart4.Init.Mode = UART_MODE_TX_RX;
	huart4.Init.HwFlowCtl = UART_HWCONTROL_NONE;
	huart4.Init.OverSampling = UART_OVERSAMPLING_16;
	huart4.Init.OneBitSampling = UART_ONE_BIT_SAMPLE_DISABLE;
	huart4.AdvancedInit.AdvFeatureInit = UART_ADVFEATURE_NO_INIT;
	if (HAL_UART_Init(&huart4) != HAL_OK)
	{
		Error_Handler();
	}

}

static void MX_UART5_Init(void)
{

	huart5.Instance = UART5;
	huart5.Init.BaudRate = 115200;
	huart5.Init.WordLength = UART_WORDLENGTH_8B;
	huart5.Init.StopBits = UART_STOPBITS_1;
	huart5.Init.Parity = UART_PARITY_NONE;
	huart5.Init.Mode = UART_MODE_TX_RX;
	huart5.Init.HwFlowCtl = UART_HWCONTROL_NONE;
	huart5.Init.OverSampling = UART_OVERSAMPLING_16;
	huart5.Init.OneBitSampling = UART_ONE_BIT_SAMPLE_DISABLE;
	huart5.AdvancedInit.AdvFeatureInit = UART_ADVFEATURE_NO_INIT;
	if (HAL_UART_Init(&huart5) != HAL_OK)
	{
		Error_Handler();
	}

}

static void MX_USART1_UART_Init(void)
{

	huart1.Instance = USART1;
	huart1.Init.BaudRate = 115200;
	huart1.Init.WordLength = UART_WORDLENGTH_8B;
	huart1.Init.StopBits = UART_STOPBITS_1;
	huart1.Init.Parity = UART_PARITY_NONE;
	huart1.Init.Mode = UART_MODE_TX_RX;
	huart1.Init.HwFlowCtl = UART_HWCONTROL_NONE;
	huart1.Init.OverSampling = UART_OVERSAMPLING_16;
	huart1.Init.OneBitSampling = UART_ONE_BIT_SAMPLE_DISABLE;
	huart1.AdvancedInit.AdvFeatureInit = UART_ADVFEATURE_NO_INIT;
	if (HAL_UART_Init(&huart1) != HAL_OK)
	{
		Error_Handler();
	}

}

static void MX_USART2_UART_Init(void)
{

	huart2.Instance = USART2;
	huart2.Init.BaudRate = 115200;
	huart2.Init.WordLength = UART_WORDLENGTH_8B;
	huart2.Init.StopBits = UART_STOPBITS_1;
	huart2.Init.Parity = UART_PARITY_NONE;
	huart2.Init.Mode = UART_MODE_TX_RX;
	huart2.Init.HwFlowCtl = UART_HWCONTROL_NONE;
	huart2.Init.OverSampling = UART_OVERSAMPLING_16;
	huart2.Init.OneBitSampling = UART_ONE_BIT_SAMPLE_DISABLE;
	huart2.AdvancedInit.AdvFeatureInit = UART_ADVFEATURE_NO_INIT;
	if (HAL_UART_Init(&huart2) != HAL_OK)
	{
		Error_Handler();
	}

}

static void MX_USART3_UART_Init(void)
{

	huart3.Instance = USART3;
	huart3.Init.BaudRate = 115200;
	huart3.Init.WordLength = UART_WORDLENGTH_8B;
	huart3.Init.StopBits = UART_STOPBITS_1;
	huart3.Init.Parity = UART_PARITY_NONE;
	huart3.Init.Mode = UART_MODE_TX_RX;
	huart3.Init.HwFlowCtl = UART_HWCONTROL_NONE;
	huart3.Init.OverSampling = UART_OVERSAMPLING_16;
	huart3.Init.OneBitSampling = UART_ONE_BIT_SAMPLE_DISABLE;
	huart3.AdvancedInit.AdvFeatureInit = UART_ADVFEATURE_NO_INIT;
	if (HAL_UART_Init(&huart3) != HAL_OK)
	{
		Error_Handler();
	}

}

static void MX_GPIO_Init(void)
{
	GPIO_InitTypeDef GPIO_InitStruct = {0};

	/* GPIO Ports Clock Enable */
	__HAL_RCC_GPIOE_CLK_ENABLE();
	__HAL_RCC_GPIOC_CLK_ENABLE();
	__HAL_RCC_GPIOF_CLK_ENABLE();
	__HAL_RCC_GPIOH_CLK_ENABLE();
	__HAL_RCC_GPIOA_CLK_ENABLE();
	__HAL_RCC_GPIOB_CLK_ENABLE();
	__HAL_RCC_GPIOD_CLK_ENABLE();
	__HAL_RCC_GPIOG_CLK_ENABLE();

	/*Configure GPIO pin Output Level */
	HAL_GPIO_WritePin(GPIOE, GPIO_OUT_SPI_CS_SDCARD_Pin|GPIO_OUT_SPI_CS_LCD_Pin|GPIO_PIN_5|GPIO_PIN_6, GPIO_PIN_RESET);

	/*Configure GPIO pin Output Level */
	HAL_GPIO_WritePin(GPIOB, LD1_Pin|LD3_Pin|LD2_Pin, GPIO_PIN_RESET);

	/*Configure GPIO pin Output Level */
	HAL_GPIO_WritePin(GPIOG, GPIO_PIN_6, GPIO_PIN_RESET);

	/*Configure GPIO pins : GPIO_OUT_SPI_CS_SDCARD_Pin GPIO_OUT_SPI_CS_LCD_Pin PE5 PE6 */
	GPIO_InitStruct.Pin = GPIO_OUT_SPI_CS_SDCARD_Pin|GPIO_OUT_SPI_CS_LCD_Pin|GPIO_PIN_5|GPIO_PIN_6;
	GPIO_InitStruct.Mode = GPIO_MODE_OUTPUT_PP;
	GPIO_InitStruct.Pull = GPIO_NOPULL;
	GPIO_InitStruct.Speed = GPIO_SPEED_FREQ_LOW;
	HAL_GPIO_Init(GPIOE, &GPIO_InitStruct);

	/*Configure GPIO pins : GPIO_EXTI3_IMU_IRQ_Pin GPIO_EXTI8_USER_BUT1_IRQ_Pin GPIO_EXTI9_USER_BUT2_IRQ_Pin GPIO_EXTI10_BUMP1_IRQ_Pin
                           GPIO_EXTI11_BUMP2_IRQ_Pin GPIO_EXTI12_BUMP3_IRQ_Pin GPIO_EXTI13_BUMP4_IRQ_Pin */
	GPIO_InitStruct.Pin = GPIO_EXTI3_IMU_IRQ_Pin|GPIO_EXTI8_USER_BUT1_IRQ_Pin|GPIO_EXTI9_USER_BUT2_IRQ_Pin|GPIO_EXTI10_BUMP1_IRQ_Pin
			|GPIO_EXTI11_BUMP2_IRQ_Pin|GPIO_EXTI12_BUMP3_IRQ_Pin|GPIO_EXTI13_BUMP4_IRQ_Pin;
	GPIO_InitStruct.Mode = GPIO_MODE_IT_RISING;
	GPIO_InitStruct.Pull = GPIO_NOPULL;
	HAL_GPIO_Init(GPIOF, &GPIO_InitStruct);

	/*Configure GPIO pin : GPIO_EXTI4_KPAD_IRQ_Pin */
	GPIO_InitStruct.Pin = GPIO_EXTI4_KPAD_IRQ_Pin;
	GPIO_InitStruct.Mode = GPIO_MODE_IT_FALLING;
	GPIO_InitStruct.Pull = GPIO_NOPULL;
	HAL_GPIO_Init(GPIO_EXTI4_KPAD_IRQ_GPIO_Port, &GPIO_InitStruct);

	/*Configure GPIO pins : RMII_MDC_Pin RMII_RXD0_Pin RMII_RXD1_Pin */
	GPIO_InitStruct.Pin = RMII_MDC_Pin|RMII_RXD0_Pin|RMII_RXD1_Pin;
	GPIO_InitStruct.Mode = GPIO_MODE_AF_PP;
	GPIO_InitStruct.Pull = GPIO_NOPULL;
	GPIO_InitStruct.Speed = GPIO_SPEED_FREQ_VERY_HIGH;
	GPIO_InitStruct.Alternate = GPIO_AF11_ETH;
	HAL_GPIO_Init(GPIOC, &GPIO_InitStruct);

	/*Configure GPIO pins : RMII_REF_CLK_Pin RMII_MDIO_Pin RMII_CRS_DV_Pin */
	GPIO_InitStruct.Pin = RMII_REF_CLK_Pin|RMII_MDIO_Pin|RMII_CRS_DV_Pin;
	GPIO_InitStruct.Mode = GPIO_MODE_AF_PP;
	GPIO_InitStruct.Pull = GPIO_NOPULL;
	GPIO_InitStruct.Speed = GPIO_SPEED_FREQ_VERY_HIGH;
	GPIO_InitStruct.Alternate = GPIO_AF11_ETH;
	HAL_GPIO_Init(GPIOA, &GPIO_InitStruct);

	/*Configure GPIO pins : LD1_Pin LD3_Pin LD2_Pin */
	GPIO_InitStruct.Pin = LD1_Pin|LD3_Pin|LD2_Pin;
	GPIO_InitStruct.Mode = GPIO_MODE_OUTPUT_PP;
	GPIO_InitStruct.Pull = GPIO_NOPULL;
	GPIO_InitStruct.Speed = GPIO_SPEED_FREQ_LOW;
	HAL_GPIO_Init(GPIOB, &GPIO_InitStruct);

	/*Configure GPIO pin : RMII_TXD1_Pin */
	GPIO_InitStruct.Pin = RMII_TXD1_Pin;
	GPIO_InitStruct.Mode = GPIO_MODE_AF_PP;
	GPIO_InitStruct.Pull = GPIO_NOPULL;
	GPIO_InitStruct.Speed = GPIO_SPEED_FREQ_VERY_HIGH;
	GPIO_InitStruct.Alternate = GPIO_AF11_ETH;
	HAL_GPIO_Init(RMII_TXD1_GPIO_Port, &GPIO_InitStruct);

	/*Configure GPIO pin : PG6 */
	GPIO_InitStruct.Pin = GPIO_PIN_6;
	GPIO_InitStruct.Mode = GPIO_MODE_OUTPUT_PP;
	GPIO_InitStruct.Pull = GPIO_NOPULL;
	GPIO_InitStruct.Speed = GPIO_SPEED_FREQ_LOW;
	HAL_GPIO_Init(GPIOG, &GPIO_InitStruct);

	/*Configure GPIO pin : USB_OverCurrent_Pin */
	GPIO_InitStruct.Pin = USB_OverCurrent_Pin;
	GPIO_InitStruct.Mode = GPIO_MODE_INPUT;
	GPIO_InitStruct.Pull = GPIO_NOPULL;
	HAL_GPIO_Init(USB_OverCurrent_GPIO_Port, &GPIO_InitStruct);

	/*Configure GPIO pins : USB_SOF_Pin USB_ID_Pin USB_DM_Pin USB_DP_Pin */
	GPIO_InitStruct.Pin = USB_SOF_Pin|USB_ID_Pin|USB_DM_Pin|USB_DP_Pin;
	GPIO_InitStruct.Mode = GPIO_MODE_AF_PP;
	GPIO_InitStruct.Pull = GPIO_NOPULL;
	GPIO_InitStruct.Speed = GPIO_SPEED_FREQ_VERY_HIGH;
	GPIO_InitStruct.Alternate = GPIO_AF10_OTG_FS;
	HAL_GPIO_Init(GPIOA, &GPIO_InitStruct);

	/*Configure GPIO pin : USB_VBUS_Pin */
	GPIO_InitStruct.Pin = USB_VBUS_Pin;
	GPIO_InitStruct.Mode = GPIO_MODE_INPUT;
	GPIO_InitStruct.Pull = GPIO_NOPULL;
	HAL_GPIO_Init(USB_VBUS_GPIO_Port, &GPIO_InitStruct);

	/*Configure GPIO pins : RMII_TX_EN_Pin RMII_TXD0_Pin */
	GPIO_InitStruct.Pin = RMII_TX_EN_Pin|RMII_TXD0_Pin;
	GPIO_InitStruct.Mode = GPIO_MODE_AF_PP;
	GPIO_InitStruct.Pull = GPIO_NOPULL;
	GPIO_InitStruct.Speed = GPIO_SPEED_FREQ_VERY_HIGH;
	GPIO_InitStruct.Alternate = GPIO_AF11_ETH;
	HAL_GPIO_Init(GPIOG, &GPIO_InitStruct);

	/* EXTI interrupt init*/
	HAL_NVIC_SetPriority(EXTI4_IRQn, 1, 0);
	HAL_NVIC_EnableIRQ(EXTI4_IRQn);

}

/* USER CODE BEGIN 4 */

void HAL_TIM_PeriodElapsedCallback(TIM_HandleTypeDef *htim)
{
	if(htim->Instance == TIM7)
	{
		//printf("Add code for line reading \n");
		static uint8_t line_data[1];
		HAL_I2C_Mem_Read(&hi2c1, SX1509_I2C_ADDR1 << 1, 0x10, 1, line_data, 1, 100);
		printf("Pololu QTR Reflectance Sensor reading: %d \n", (int8_t)line_data[0]);

	}

	if(htim->Instance == TIM10)
	{
		__HAL_TIM_SET_PRESCALER(&htim10,LED_PRESC); //values for LED_PRESC are in ms
		HAL_GPIO_TogglePin(GPIOE, GPIO_PIN_5);
		HAL_GPIO_TogglePin(GPIOE, GPIO_PIN_6);
		HAL_GPIO_TogglePin(GPIOB, GPIO_PIN_0);
	}
}

void HAL_GPIO_EXTI_Callback(uint16_t GPIO_Pin)
{
	//printf("Interrupt on pin (%d).\n", GPIO_Pin);
	if(GPIO_Pin == GPIO_EXTI4_KPAD_IRQ_Pin){
		keyPad_read();
	}
}
/* USER CODE END 4 */

void Error_Handler(void)
{
	__disable_irq();
	while (1)
	{
	}
}
